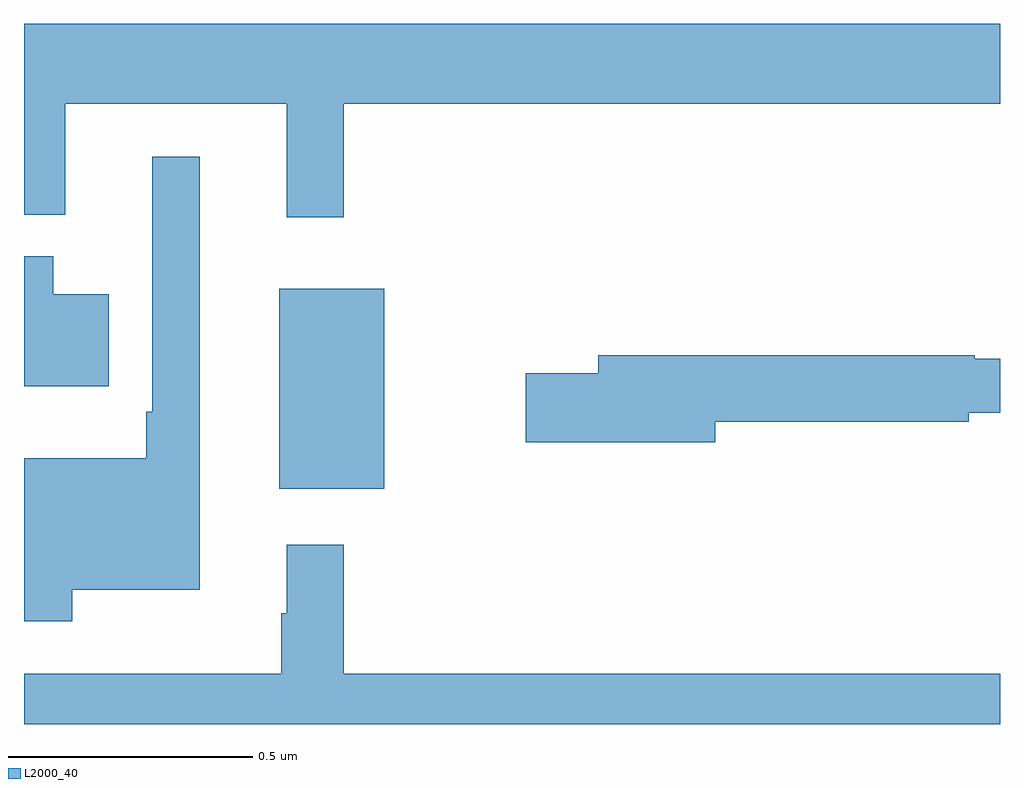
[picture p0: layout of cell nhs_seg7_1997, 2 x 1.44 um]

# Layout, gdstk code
import gdstk
lib = gdstk.Library(unit=1e-6, precision=1e-09)
def R(c, l, rs):  # rectangles x0, y0, x1, y1
    for r in rs: c.add(gdstk.rectangle(r[:2], r[2:], *l))
def P(c, l, *ps):  # polygons
    for p in ps: c.add(gdstk.Polygon(p, *l))
L2000_40 = (2000, 40)

nhs_seg7_1997 = lib.new_cell('nhs_seg7_1997')
R(nhs_seg7_1997, L2000_40, [(139.523,1010.483,139.738,1010.893)])
P(nhs_seg7_1997, L2000_40, [(139.655,1011.272),(141,1011.272),(141,1011.436),(139,1011.436),(139,1011.044),(139.085,1011.044),(139.085,1011.272),(139.538,1011.272),(139.538,1011.039),(139.655,1011.039)],
  [(139.099,1010.276),(139.36,1010.276),(139.36,1011.163),(139.263,1011.163),(139.263,1010.641),(139.251,1010.641),(139.251,1010.545),(139,1010.545),(139,1010.211),(139.099,1010.211)],
  [(139.174,1010.881),(139.06,1010.881),(139.06,1010.959),(139,1010.959),(139,1010.693),(139.174,1010.693)],
  [(140.416,1010.62),(140.936,1010.62),(140.936,1010.639),(141,1010.639),(141,1010.749),(140.948,1010.749),(140.948,1010.756),(140.177,1010.756),(140.177,1010.72),(140.028,1010.72),(140.028,1010.578),(140.416,1010.578)],
  [(141,1010.104),(139.655,1010.104),(139.655,1010.368),(139.538,1010.368),(139.538,1010.228),(139.527,1010.228),(139.527,1010.104),(139,1010.104),(139,1010),(141,1010)])

lib.write_gds('nhs_seg7_1997.gds')
